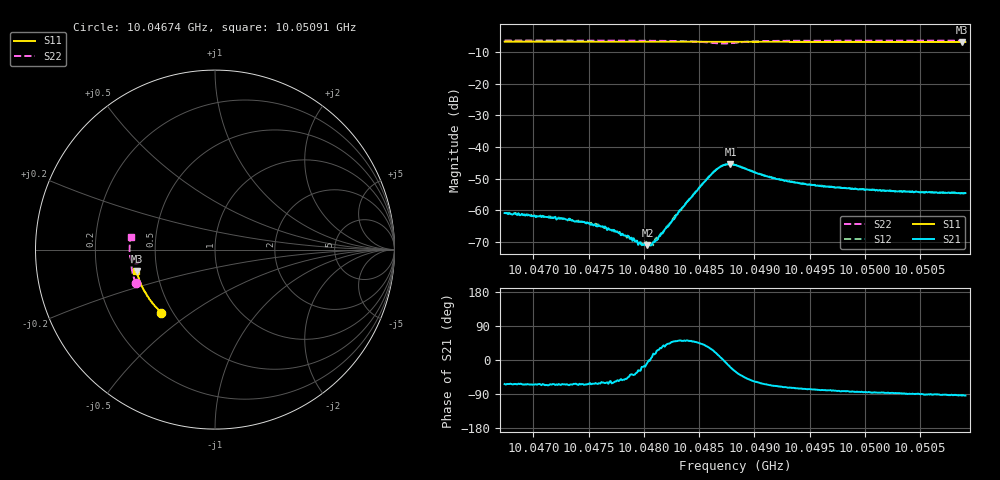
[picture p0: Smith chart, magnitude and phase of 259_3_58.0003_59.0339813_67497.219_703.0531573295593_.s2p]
#  HZ  S  RI  R  50.00
! Rohde & Schwarz Vector Network Analyzer
! Rohde-Schwarz,ZNB20-2Port,1311601062101988,3.16
! Created: UTC 3/21/2024, 1:01:54 AM
! freq[Hz]  re:S11  im:S11  re:S21  im:S21  re:S12  im:S12  re:S22  im:S22
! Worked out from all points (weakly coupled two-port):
!   401 points, 10.04674 GHz to 10.05091 GHz, reference 50 ohm
!   highest |S21| = -45.45 dB at 10.04878 GHz (marker M1); lowest = -71.1 dB at 10.04803 GHz (marker M2)
!   lowest |S11| = -6.9 dB at 10.05088 GHz (marker M3), VSWR 2.66, Z = 19.1 - j5.79 ohm
!   |S11| at or under -10 dB: nowhere
!   |S22| runs from -7.4 to -6.4 dB; largest |S21 - S12| = 0.00035
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1.0046738e10  -0.2988 -0.351  0.000406 -0.000808  0.000468 -0.000784  -0.4412 -0.1881
1.0047135e10  -0.3175 -0.3326  0.000304 -0.000709  0.000404 -0.000694  -0.4502 -0.1629
1.0047437e10  -0.3312 -0.3182  0.000293 -0.000593  0.000336 -0.000567  -0.4563 -0.1427
1.0047594e10  -0.3382 -0.3103  0.00028 -0.000506  0.000295 -0.000477  -0.4589 -0.1318
1.0047635e10  -0.34 -0.3085  0.00027 -0.000462  0.000278 -0.000456  -0.4596 -0.1291
1.0047844e10  -0.3487 -0.2976  0.000252 -0.000296  0.000255 -0.000268  -0.4624 -0.1137
1.004798e10  -0.3542 -0.2906  0.000272 -9.08e-05  0.000265 -9.42e-05  -0.4639 -0.1034
1.0048032e10  -0.3564 -0.2878  0.000276 -3.29e-05  0.000271 -1.92e-05  -0.4644 -0.0993
1.0048074e10  -0.358 -0.2856  0.000291 4.23e-05  0.000282 8.57e-05  -0.4644 -0.096
1.0048136e10  -0.3605 -0.2824  0.000348 0.000179  0.000321 0.000204  -0.4648 -0.0906
1.0048334e10  -0.368 -0.2715  0.000639 0.000806  0.000599 0.000812  -0.463 -0.0725
1.0048522e10  -0.3749 -0.2613  0.00184 0.00168  0.00177 0.00182  -0.4517 -0.0532
1.0048616e10  -0.3781 -0.256  0.00338 0.00174  0.00329 0.00196  -0.4376 -0.0493
1.0048699e10  -0.3808 -0.2516  0.00494 0.000468  0.00491 0.000787  -0.4248 -0.0583
1.0048783e10  -0.3838 -0.247  0.00504 -0.00176  0.00517 -0.00145  -0.4277 -0.0745
1.0048825e10  -0.3851 -0.2448  0.00451 -0.00258  0.00466 -0.00229  -0.4342 -0.0788
1.0049179e10  -0.397 -0.2246  0.00121 -0.00299  0.00139 -0.00292  -0.4684 -0.0551
1.0049523e10  -0.4072 -0.2042  0.000533 -0.00245  0.000685 -0.00243  -0.4745 -0.0265
1.0049815e10  -0.415 -0.1867  0.000305 -0.00222  0.000414 -0.00223  -0.4758 -0.00471
1.0050222e10  -0.4247 -0.1618  9.56e-05 -0.00204  0.000238 -0.00203  -0.4756 0.0237
1.0050879e10  -0.4371 -0.1204  -0.000122 -0.00187  1.77e-05 -0.00187  -0.471 0.0682
1.0050911e10  -0.4377 -0.1185  -0.000125 -0.00187  5.93e-06 -0.00187  -0.4706 0.0702
